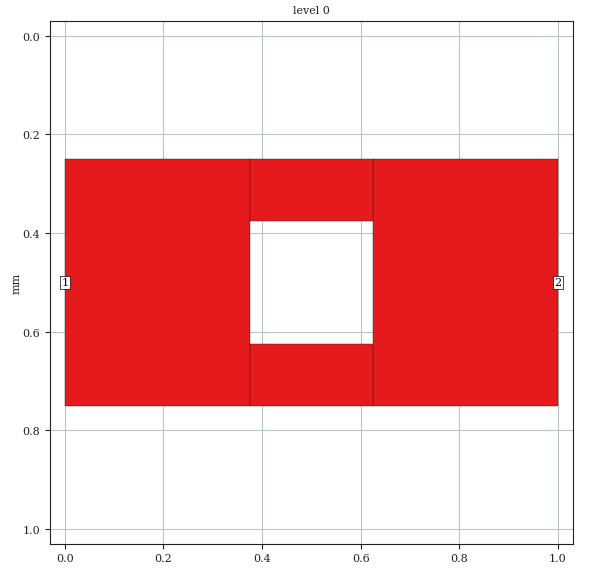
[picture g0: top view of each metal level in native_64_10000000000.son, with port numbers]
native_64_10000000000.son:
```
FTYP SONPROJ 19
DIM
ANG DEG
CAP PF
CON /OH
FREQ GHZ
IND NH
LNG MM
RES OH
END DIM
CONTROL
VARSWP
OPTIONS
SPEED 0
SUBSPLAM N 100
END CONTROL
GEO
TMET "PEC" 0 SUP 0 0 0 0
BMET "PEC" 0 SUP 0 0 0 0
BOX 1 1 1 128 128 100 0
.1 1 1 0 0 0 2 "Air"
.1 1 1 0 0 0 2 "Air"
POR1 BOX
POLY 1 1
3
1 50 0 0 0 0 .5
POR1 BOX
POLY 2 1
1
2 50 0 0 0 1 .5
NUM 4
0 5 -1 N 1 1 1 100 100 0 0 0 Y
0.0 0.25
0.375 0.25
0.375 0.75
0.0 0.75
0.0 0.25
END
0 5 -1 N 2 1 1 100 100 0 0 0 Y
0.625 0.25
1.0 0.25
1.0 0.75
0.625 0.75
0.625 0.25
END
0 5 -1 N 3 1 1 100 100 0 0 0 Y
0.375 0.25
0.625 0.25
0.625 0.375
0.375 0.375
0.375 0.25
END
0 5 -1 N 4 1 1 100 100 0 0 0 Y
0.375 0.625
0.625 0.625
0.625 0.75
0.375 0.75
0.375 0.625
END
END GEO
VARSWP
ENABLED Y
FREQ Y AN SWEEP 10.0
END
END VARSWP
FILEOUT
TOUCH ND Y native_raw.s2p IC 15 S RI R 50
FOLDER .
END FILEOUT
```
